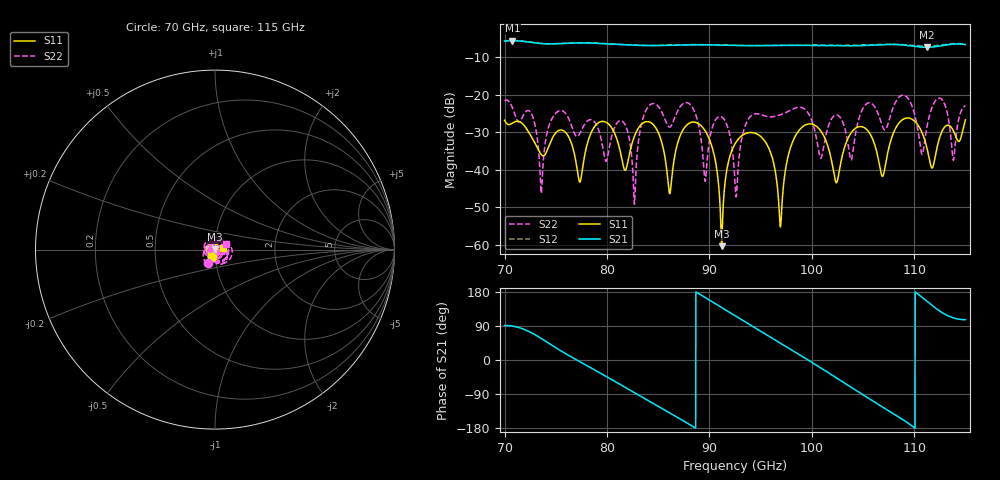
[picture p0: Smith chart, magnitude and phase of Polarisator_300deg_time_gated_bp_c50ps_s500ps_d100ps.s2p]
# Hz S RI R 1.000000
! Metas.Vna.Tools, 2.4.7898.19887
! Metas.Vna.Data, 2.4.7898.19873
! Created: UTC 2021.09.30 14:31:00
! FREQ  re:S1,1  im:S1,1  re:S2,1  im:S2,1  re:S1,2  im:S1,2  re:S2,2  im:S2,2
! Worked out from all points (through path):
!   2251 points, 70 GHz to 115 GHz, reference 1 ohm
!   highest |S21| = -5.63 dB at 70.76 GHz (marker M1); lowest = -7.4 dB at 111.2 GHz (marker M2)
!   lowest |S11| = -60.4 dB at 91.2 GHz (marker M3), VSWR 1.00, Z = 1 + j0.00188 ohm
!   |S11| at or under -10 dB: start of sweep to end of sweep
!   |S22| runs from -49.2 to -20.1 dB; largest |S21 - S12| = 0.078
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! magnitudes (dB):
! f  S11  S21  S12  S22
! 70 GHz  -26.8  -5.7  -5.7  -21.6
! 70.76 GHz  -27.6  -5.6  -5.6  -23.4
! 73.58 GHz  -36.0  -6.4  -6.4  -46.3
! 74.96 GHz  -30.3  -6.5  -6.4  -25.0
! 77.5 GHz  -41.7  -6.2  -6.2  -29.5
! 79.42 GHz  -27.2  -6.4  -6.3  -31.8
! 81.56 GHz  -38.6  -6.7  -6.7  -27.2
! 82.68 GHz  -31.1  -6.8  -6.8  -49.2
! 85 GHz  -30.1  -6.9  -6.9  -23.1
! 86.12 GHz  -46.4  -6.9  -6.8  -28.6
! 88.16 GHz  -27.4  -6.7  -6.7  -22.7
! 89.42 GHz  -29.0  -6.7  -6.7  -38.3
! 91.2 GHz  -60.4  -6.8  -6.8  -26.0
! 92.5 GHz  -33.1  -6.9  -6.9  -43.2
! 95.44 GHz  -32.5  -6.9  -6.9  -25.7
! 96.94 GHz  -55.2  -6.9  -6.8  -25.4
! 100 GHz  -27.8  -6.9  -6.8  -26.9
! 102.4 GHz  -43.5  -7.0  -6.8  -25.4
! 104.4 GHz  -28.8  -7.0  -6.8  -29.2
! 107.5 GHz  -34.4  -6.7  -6.5  -27.2
! 111.2 GHz  -34.2  -7.4  -7.1  -28.7
! 115 GHz  -26.7  -6.7  -6.5  -22.9
